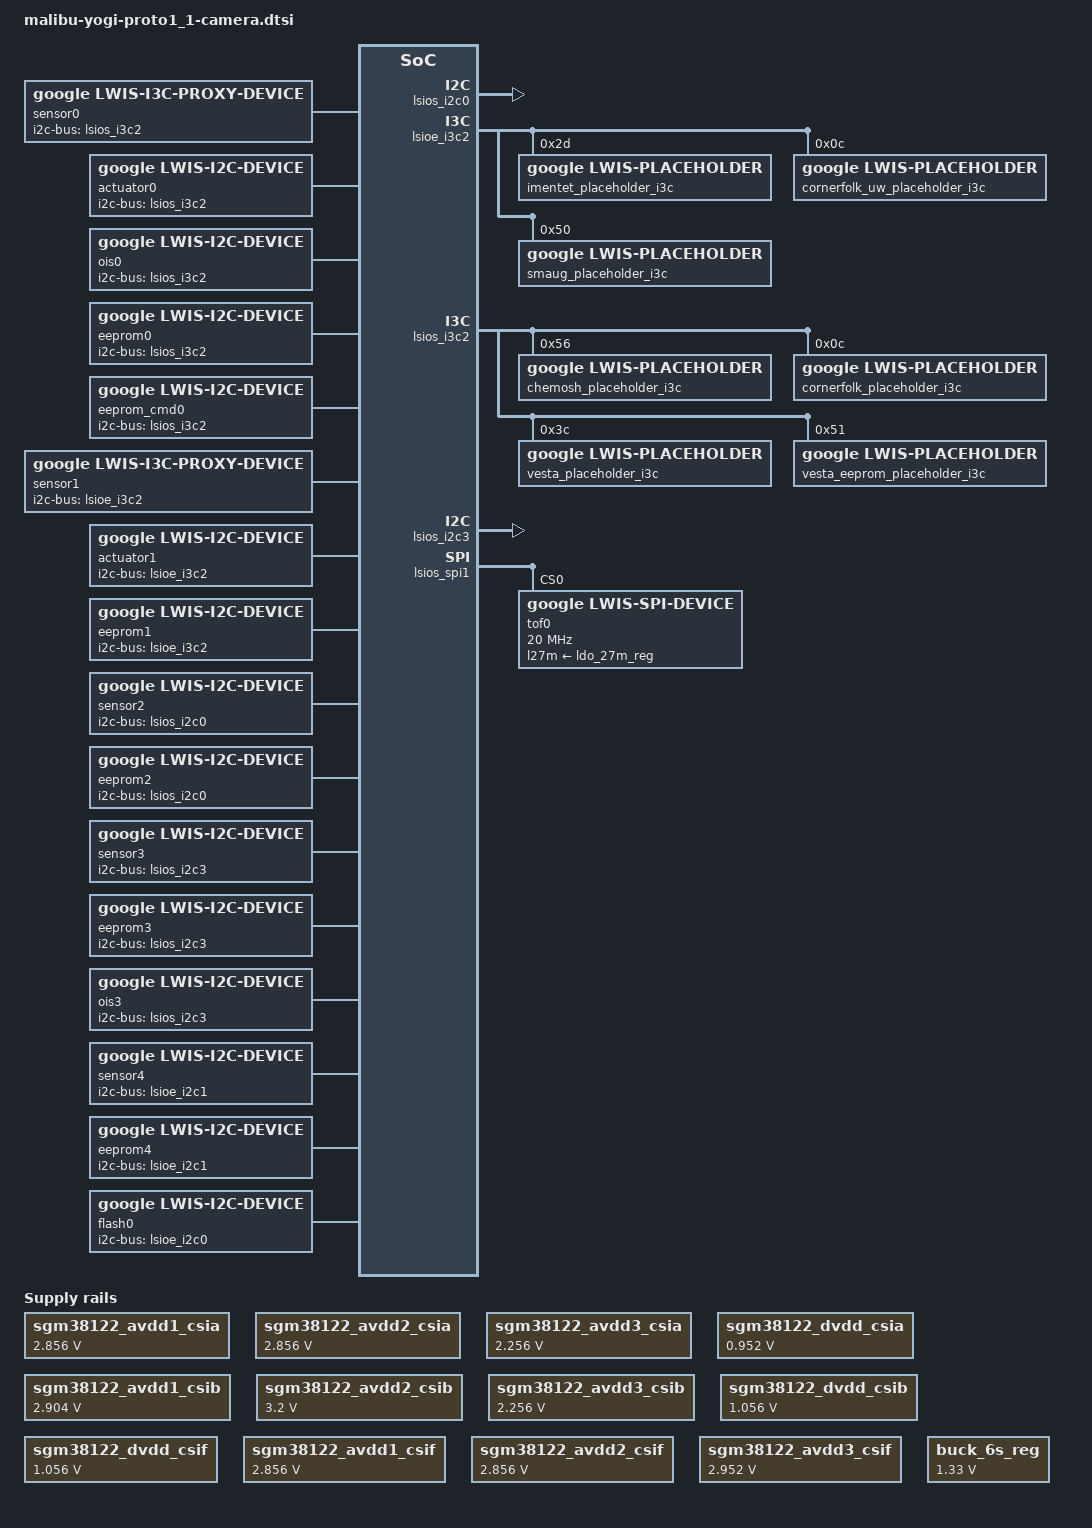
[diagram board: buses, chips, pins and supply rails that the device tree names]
// SPDX-License-Identifier: GPL-2.0-only
/*
 * camera lwis device tree for MBU device
 *
 * Copyright 2025 Google LLC.
 *
 */

#include <dt-bindings/gpio/gpio.h>
#include <dt-bindings/interrupt-controller/irq.h>
#include <dt-bindings/lwis/platform/malibu/tof.h>

// Enable inner front cam for I2C
&lsios_i2c0 {
	status = "okay";
};

/* RUWCAM: switch I2C/I3C explicitly */
&xlsioe_i23c7_scl {
	function = "lsioe_i3c";
};
&xlsioe_i23c7_sda {
	function = "lsioe_i3c";
};
&lsioe_i2c2 {
	status = "disabled";
};
&lsioe_i3c2 {
	status = "okay";

	i3c-scl-hz = <12000000>;

	/* Lwis placeholder for RUWCAM */
	imentet_placeholder_i3c: imentet_placeholder_i3c@0 {
		compatible = "google,lwis-placeholder";
		/* I2C */
		reg = <0x2D 0x0 0x20>;
	};
	cornerfolk_uw_placeholder_i3c: cornerfolk_uw_placeholder_i3c@0 {
		compatible = "google,lwis-placeholder";
		/* I2C */
		reg = <0xC 0x0 0x20>;
	};
	smaug_placeholder_i3c: smaug_placeholder_i3c@0 {
		compatible = "google,lwis-placeholder";
		/* I2C */
		reg = <0x50 0x0 0x20>;
	};
};

/* RCAM: switch I2C/I3C explicitly */
&xlsios_i23c2_scl {
	function = "lsios_i3c2";
};
&xlsios_i23c2_sda {
	function = "lsios_i3c2";
};
&lsios_i2c2 {
	status = "disabled";
};
&lsios_i3c2 {
	status = "okay";

	i3c-scl-hz = <12000000>;

	/* Lwis placeholder for RCAM */
	chemosh_placeholder_i3c: chemosh_placeholder_i3c@0 {
		compatible = "google,lwis-placeholder";
		/* I2C */
		reg = <0x56 0x0 0x20>;
	};
	cornerfolk_placeholder_i3c: cornerfolk_placeholder_i3c@0 {
		compatible = "google,lwis-placeholder";
		/* I2C */
		reg = <0xC 0x0 0x20>;
	};
	vesta_placeholder_i3c: vesta_placeholder_i3c@0 {
		compatible = "google,lwis-placeholder";
		/* I2C */
		reg = <0x3C 0x0 0x20>;
	};
	vesta_eeprom_placeholder_i3c: vesta_eeprom_placeholder_i3c@0 {
		compatible = "google,lwis-placeholder";
		/* I2C */
		reg = <0x51 0x0 0x20>;
	};
};

/* RTCAM: switch I2C/I3C explicitly */
&xlsios_i23c3_scl {
	function = "lsios_i2c3";
};

&xlsios_i23c3_sda {
	function = "lsios_i2c3";
};

&lsios_i2c3 {
	status = "okay";
};

&lsios_i3c3 {
	status = "disabled";
};

&sgm38122_avdd1_csia {
	regulator-min-microvolt = <2856000>;
	regulator-max-microvolt = <2856000>;
};
&sgm38122_avdd2_csia {
	regulator-min-microvolt = <2856000>;
	regulator-max-microvolt = <2856000>;
};
&sgm38122_avdd3_csia {
	regulator-min-microvolt = <2256000>;
	regulator-max-microvolt = <2256000>;
};
&sgm38122_dvdd_csia {
	regulator-min-microvolt = <952000>;
	regulator-max-microvolt = <952000>;
};

&sgm38122_avdd1_csib {
	regulator-min-microvolt = <2904000>;
	regulator-max-microvolt = <2904000>;
};
&sgm38122_avdd2_csib {
	regulator-min-microvolt = <3200000>;
	regulator-max-microvolt = <3200000>;
};
&sgm38122_avdd3_csib {
	regulator-min-microvolt = <2256000>;
	regulator-max-microvolt = <2256000>;
};
&sgm38122_dvdd_csib {
	regulator-min-microvolt = <1056000>;
	regulator-max-microvolt = <1056000>;
};

&sgm38122_dvdd_csif {
	regulator-min-microvolt = <1056000>;
	regulator-max-microvolt = <1056000>;
};
&sgm38122_avdd1_csif {
	regulator-min-microvolt = <2856000>;
	regulator-max-microvolt = <2856000>;
};
&sgm38122_avdd2_csif {
	regulator-min-microvolt = <2856000>;
	regulator-max-microvolt = <2856000>;
};
&sgm38122_avdd3_csif {
	regulator-min-microvolt = <2952000>;
	regulator-max-microvolt = <2952000>;
};

&buck_6s_reg {
	regulator-min-microvolt = <1330000>;
	regulator-max-microvolt = <1330000>;
};

&lsios_spi1 {
	google,spi-gpio-cs-with-cpol-high;
	tof0: tof@0 {
		compatible = "google,lwis-spi-device";

		/* SPI_CONFIG */
		reg = <0>;
		spi-max-frequency = <20000000>;
		spi-cpol;
		spi-cpha;

		/* Device node name */
		node-name = "tof-tarasque";

		/* Registers */
		reg-addr-bitwidth = <16>;
		reg-value-bitwidth = <8>;

		/* MCLK Control */
		/* LWIS DT parser explicitly requires mclk_on pinctrl */
		pinctrl-names = "default", "mclk_on", "mclk_off";
		pinctrl-0 = <&ldaf2aoss_irq_od_l_1v2>;
		pinctrl-1 = <&ldaf2aoss_irq_od_l_1v2>;
		pinctrl-2 = <>;

		irq-gpios = <LDAF2AOSS_IRQ_OD_L_1V2(GPIO_ACTIVE_LOW)>;
		irq-gpios-names = "tof-irq";
		irq-gpios-events = <LWIS_PLATFORM_EVENT_ID_TOF_DATA_POLLING>;
		irq-gpios-types = <IRQ_TYPE_EDGE_FALLING>;

		/* Power supplies */
		/* VADD 3.3V */
		l27m-supply = <&ldo_27m_reg>;

		/* Power up sequence */
		power-up-seqs =
			"l27m",
			"mclk_on";
		power-up-seq-types =
			"regulator",
			"pinctrl";
		power-up-seq-delays-us =
			<0
			 0>;

		/* Power down sequence */
		power-down-seqs =
			"mclk_off",
			"l27m";
		power-down-seq-types =
			"pinctrl",
			"regulator";
		power-down-seq-delays-us =
			<0
			 0>;

		/* Thread priority */
		/* This is made to be lower than image sensor's thread */
		/* thread priority to allow uninterrupted image sensor */
		/* operation during periods of high CPU contention. */
		transaction-thread-priority = <100>;
	};
};

/ {
	fragment@lwiscamera {
		target-path = "/";
		__overlay__ {
			camera_base_pwrseq: camera_base_pwrseq@0 {
				compatible = "google,lwis-pwrseq-device";

				/* Device node name */
				node-name = "pwrseq-base";
				/* Power sequence target name */
				target-name = "camera_base";

				/* Power supplies */
				bb_cam-supply = <&camera_buck_boost>;

				/* power up sequence */
				power-up-seqs =
					"bb_cam",
					"fast-bb_cam";
				power-up-seq-types =
					"regulator",
					"regulator_mode";
				power-up-seq-delays-us =
					<0
					 200>;

				/* power down sequence */
				power-down-seqs =
					"normal-bb_cam",
					"bb_cam";
				power-down-seq-types =
					"regulator_mode",
					"regulator";
				power-down-seq-delays-us =
					<0
					 0>;
			};

			rear_main_camera_pwrseq: rear_main_camera_pwrseq@0 {
				compatible = "google,lwis-pwrseq-device";

				/* Device node name */
				node-name = "pwrseq-rmain";
				/* Power sequence target name */
				target-name = "rear_main_camera";

				/* Sequencer sources */
				sequencer-sources = <&camera_base_pwrseq>;

				/* Power supplies */
				lvbuck-supply = <&cam_pp1150_lvbuck>;
				mvbuck-supply = <&cam_pp2450_mvbuck>;
				vio-supply = <&ldo_22s_reg>;
				vdig-supply = <&sgm38122_dvdd_csib>;
				af_vm-supply = <&sgm38122_avdd2_csib>;
				vm_vana-supply = <&sgm38122_avdd1_csib>;
				vana-supply = <&sgm38122_avdd3_csib>;

				/* MCLK Control */
				pinctrl-names = "mclk_on", "mclk_off";
				pinctrl-0 = <&ap2rcam_mclk_24mhz>;
				pinctrl-1 = <&ap2rcam_mclk_24mhz_sleep>;

				/* Power up sequence */
				power-up-seqs =
					"camera_base",
					"mvbuck",
					"lvbuck",
					"vio",
					"vana",
					"vdig",
					"vm_vana",
					"af_vm",
					"mclk_on";
				power-up-seq-types =
					"pwrseq",
					"regulator",
					"regulator",
					"regulator",
					"regulator",
					"regulator",
					"regulator",
					"regulator",
					"pinctrl";
				power-up-seq-delays-us =
					<0
					 0
					 0
					 2500
					 0
					 1000
					 0
					 1000
					 /* AF need 7.1ms (rounded to 8ms) before I2C stable,
					    added the remaining here */
					 8000>;

				power-down-seqs =
					"mclk_off",
					"af_vm",
					"vm_vana",
					"vdig",
					"vana",
					"vio",
					"lvbuck",
					"mvbuck",
					"camera_base";
				power-down-seq-types =
					"pinctrl",
					"regulator",
					"regulator",
					"regulator",
					"regulator",
					"regulator",
					"regulator",
					"regulator",
					"pwrseq";
				power-down-seq-delays-us =
					<1000
					 0
					 1000
					 0
					 1000
					 0
					 0
					 200
					 0>;
			};

			/* REAR CAMERA CHEMOSH CSIB */
			sensor0: sensor@0 {
				compatible = "google,lwis-i3c-proxy-device";

				/* Device node name */
				node-name = "sensor-chemosh";

				/* I2C */
				i2c-bus = <&lsios_i3c2>;
				i2c-addr = <0x56>;

				/* Registers */
				reg-addr-bitwidth = <16>;
				reg-value-bitwidth = <16>;

				/* I3C */
				i3c-enabled;
				i3c-dcr = <130>;

				/* I2C OTP settings (reg, val) */
				lwis,i2c-otp;
				i2c-otp-settings =
					<0xFCFC 0x4000
					 0x0000 0x0052
					 0x0000 0x58E1
					 0x6018 0x0001
					 0xFFFF 1000

					 0x7002 0x0008
					 0x7004 0x1800
					 0x70B8 0x0CEB
					 0x6014 0x0001
					 0xFFFF 20000>;
				i2c-otp-settle-time = <0>;

				/* I3C OTP settings (reg, val) */
				i3c-otp-settings =
					<0xFCFC 0x4000
					 0x0000 0x0052
					 0x0000 0x58E1
					 0x6018 0x0001
					 0xFFFF 1000

					 0x7002 0x1008
					 0x7004 0x1800
					 0x70B8 0x0CEB
					 0x6014 0x0001
					 0xFFFF 20000>;
				i3c-otp-settle-time = <0>;

				/* I3C IBI */
				ibi-max-payload-len = <3>;
				ibi-num-slots = <8>;

				/* GPIOs */
				reset-gpios = <AP2RCAM_RST_L(GPIO_ACTIVE_HIGH)>;

				/* Power domains: cpm_clk */
				power-domains = <&sswrp_lsio_s_pd>;

				clocks = <&lsio_s_m4_clk>;
				clock-names = "MCLK4";
				clock-rates = <24576000>;

				/* Power sequence */
				power-sequencer = <&rear_main_camera_pwrseq>;

				power-up-seqs = "rear_main_camera", "resume";
				power-up-seq-types = "pwrseq", "controller";
				power-up-seq-delays-us = <0 0>;

				power-down-seqs = "suspend", "rear_main_camera";
				power-down-seq-types = "controller", "pwrseq";
				power-down-seq-delays-us = <0 0>;

				/* Power up mode */
				lwis,power-up-to-suspend;

				/* resume sequence */
				resume-seqs = "reset";
				resume-seq-types = "gpio";
				resume-seq-delays-us = <10000>;

				/* suspend sequence */
				suspend-seqs = "reset";
				suspend-seq-types = "gpio";
				suspend-seq-delays-us = <1000>;

				/* Thread priority */
				transaction-thread-priority = <99>;

				i2c-lock-group-id = <0>;
				transaction-process-limit = <20>;
			};

			/* Actuator CORNERFOLK for CHEMOSH */
			actuator0: actuator@0 {
				compatible = "google,lwis-i2c-device";

				/* Device node name */
				node-name = "act-cornerfolk";

				/* I2C */
				i2c-bus = <&lsios_i3c2>;
				i2c-addr = <0xC>;

				/* Registers */
				reg-addr-bitwidth = <8>;
				reg-value-bitwidth = <8>;

				/* Power sequence */
				power-sequencer = <&rear_main_camera_pwrseq>;

				power-up-seqs = "rear_main_camera", "resume";
				power-up-seq-types = "pwrseq", "controller";
				power-up-seq-delays-us = <0 0>;

				power-down-seqs = "suspend", "rear_main_camera";
				power-down-seq-types = "controller", "pwrseq";
				power-down-seq-delays-us = <0 0>;

				/* Thread priority */
				transaction-thread-priority = <99>;

				i2c-lock-group-id = <0>;
			};

			/* OIS VESTA for CHEMOSH */
			ois0: ois@0 {
				compatible = "google,lwis-i2c-device";

				/* Device node name */
				node-name = "ois-vesta";

				/* I2C */
				i2c-bus = <&lsios_i3c2>;
				i2c-addr = <0x3C>;

				/* Registers */
				reg-addr-bitwidth = <16>;
				reg-value-bitwidth = <8>;

				/* Power sequence */
				power-sequencer = <&rear_main_camera_pwrseq>;

				power-up-seqs = "rear_main_camera", "resume";
				power-up-seq-types = "pwrseq", "controller";
				power-up-seq-delays-us = <0 0>;

				power-down-seqs = "suspend", "rear_main_camera";
				power-down-seq-types = "controller", "pwrseq";
				power-down-seq-delays-us = <0 0>;

				/* Thread priority */
				transaction-thread-priority = <99>;

				i2c-lock-group-id = <0>;
			};

			/* EEPROM VESTA for CHEMOSH */
			eeprom0: eeprom@0 {
				compatible = "google,lwis-i2c-device";

				/* Device node name */
				node-name = "eeprom-vesta";

				/* I2C */
				i2c-bus = <&lsios_i3c2>;
				i2c-addr = <0x51>;

				/* Registers */
				reg-addr-bitwidth = <16>;
				reg-value-bitwidth = <32>;

				/* Power sequence */
				power-sequencer = <&rear_main_camera_pwrseq>;

				power-up-seqs = "rear_main_camera", "resume";
				power-up-seq-types = "pwrseq", "controller";
				power-up-seq-delays-us = <0 0>;

				power-down-seqs = "suspend", "rear_main_camera";
				power-down-seq-types = "controller", "pwrseq";
				power-down-seq-delays-us = <0 0>;

				/* Thread priority */
				transaction-thread-priority = <99>;

				i2c-lock-group-id = <0>;
			};

			eeprom_cmd0: eeprom_cmd@0 {
				compatible = "google,lwis-i2c-device";

				/* Device node name */
				node-name = "eeprom-cmd-vesta";

				/* I2C */
				i2c-bus = <&lsios_i3c2>;
				i2c-addr = <0x51>;

				/* Registers */
				reg-addr-bitwidth = <16>;
				reg-value-bitwidth = <8>;

				/* Power sequence */
				power-sequencer = <&rear_main_camera_pwrseq>;

				power-up-seqs = "rear_main_camera", "resume";
				power-up-seq-types = "pwrseq", "controller";
				power-up-seq-delays-us = <0 0>;

				power-down-seqs = "suspend", "rear_main_camera";
				power-down-seq-types = "controller", "pwrseq";
				power-down-seq-delays-us = <0 0>;

				/* Thread priority */
				transaction-thread-priority = <99>;

				i2c-lock-group-id = <0>;
			};

			rear_uw_camera_pwrseq: rear_uw_camera_pwrseq@0 {
				compatible = "google,lwis-pwrseq-device";

				/* Device node name */
				node-name = "pwrseq-ruw";
				/* Power sequence target name */
				target-name = "rear_uw_camera";

				/* Sequencer sources */
				sequencer-sources = <&camera_base_pwrseq>;

				/* Power supplies */
				lvbuck-supply = <&cam_pp1150_lvbuck>;
				mvbuck-supply = <&cam_pp2450_mvbuck>;
				vio-supply = <&ldo_22s_reg>;
				vana-supply = <&sgm38122_avdd3_csia>;
				vdig-supply = <&sgm38122_dvdd_csia>;
				af_vm-supply = <&sgm38122_avdd2_csia>;

				/* MCLK Control */
				pinctrl-names = "mclk_on", "mclk_off";
				pinctrl-0 = <&ap2ruwcam_mclk_24mhz>;
				pinctrl-1 = <&ap2ruwcam_mclk_24mhz_sleep>;

				power-up-seqs =
					"camera_base",
					"mvbuck",
					"lvbuck",
					"vio",
					"vana",
					"vdig",
					"af_vm",
					"mclk_on";
				power-up-seq-types =
					"pwrseq",
					"regulator",
					"regulator",
					"regulator",
					"regulator",
					"regulator",
					"regulator",
					"pinctrl";
				power-up-seq-delays-us =
					<0
					 0
					 0
					 2500
					 0
					 1000
					 1000
					 /* AF need 7.1ms (rounded to 8ms) before I2C stable,
					    added the remaining here */
					 7000>;

				power-down-seqs =
					"mclk_off",
					"af_vm",
					"vdig",
					"vana",
					"vio",
					"lvbuck",
					"mvbuck",
					"camera_base";
				power-down-seq-types =
					"pinctrl",
					"regulator",
					"regulator",
					"regulator",
					"regulator",
					"regulator",
					"regulator",
					"pwrseq";
				power-down-seq-delays-us =
					<1000
					 1000
					 0
					 1000
					 0
					 0
					 200
					 0>;
			};

			/* REAR ULTRA WIDE IMENTET CSIA */
			sensor1: sensor@1 {
				compatible = "google,lwis-i3c-proxy-device";

				/* Device node name */
				node-name = "sensor-imentet";

				/* I2C */
				i2c-bus = <&lsioe_i3c2>;
				i2c-addr = <0x2D>;

				/* Registers */
				reg-addr-bitwidth = <16>;
				reg-value-bitwidth = <16>;

				/* I3C */
				i3c-enabled;
				i3c-dcr = <130>;

				/* I2C OTP settings (reg, val) */
				lwis,i2c-otp;
				i2c-otp-settings =
					<0xFCFC	0x4000
					 0x6000	0x0005
					 0x6226	0x0001
					 0x6018	0x0001
					 0xFFFF 1000

					 0xFCFC	0x4000
					 0x6000	0x0005
					 0xFCFC	0x2002
					 0x77F0	0x0000
					 0xFCFC	0x4000
					 0x7002	0x0008
					 0x7004	0x1800
					 0x70B8	0x5112
					 0x6014	0x0001
					 0xFFFF 5000>;
				i2c-otp-settle-time = <0>;

				/* I3C OTP settings (reg, val) */
				i3c-otp-settings =
					<0xFCFC	0x4000
					 0x6000	0x0005
					 0x6226	0x0001
					 0x6018	0x0001
					 0xFFFF 1000

					 0xFCFC	0x4000
					 0x6000	0x0005
					 0xFCFC	0x2002
					 0x77F0	0x0000
					 0xFCFC	0x4000
					 0x7002	0x1008
					 0x6066	0x0216
					 0x6068	0x343B
					 0x7004	0x1800
					 0x70B8	0x5112
					 0x6014	0x0001
					 0xFFFF 20000>;
				i3c-otp-settle-time = <0>;

				/* I3C IBI */
				ibi-max-payload-len = <3>;
				ibi-num-slots = <8>;

				/* GPIOs */
				reset-gpios = <AP2RUWCAM_RST_L(GPIO_ACTIVE_HIGH)>;

				/* Power domains: cpm_clk */
				power-domains = <&sswrp_lsio_s_pd>;

				clocks = <&lsio_s_m2_clk>;
				clock-names = "MCLK2";
				clock-rates = <24576000>;

				/* Power sequence */
				power-sequencer = <&rear_uw_camera_pwrseq>;

				power-up-seqs = "rear_uw_camera", "resume";
				power-up-seq-types = "pwrseq", "controller";
				power-up-seq-delays-us = <0 0>;

				power-down-seqs = "suspend", "rear_uw_camera";
				power-down-seq-types = "controller", "pwrseq";
				power-down-seq-delays-us = <0 0>;

				/* Power up mode */
				lwis,power-up-to-suspend;

				/* resume sequence */
				resume-seqs = "reset";
				resume-seq-types = "gpio";
				resume-seq-delays-us = <10000>;

				/* suspend sequence */
				suspend-seqs = "reset";
				suspend-seq-types = "gpio";
				suspend-seq-delays-us = <1000>;

				/* Thread priority */
				transaction-thread-priority = <99>;

				i2c-lock-group-id = <1>;
			};

			/* Actuator CORNERFOLK for IMENTET */
			actuator1: actuator@1 {
				compatible = "google,lwis-i2c-device";

				/* Device node name */
				node-name = "act-cornerfolk-uw";

				/* I2C */
				i2c-bus = <&lsioe_i3c2>;
				i2c-addr = <0xC>;

				/* Registers */
				reg-addr-bitwidth = <8>;
				reg-value-bitwidth = <8>;

				/* Power sequence */
				power-sequencer = <&rear_uw_camera_pwrseq>;

				power-up-seqs = "rear_uw_camera", "resume";
				power-up-seq-types = "pwrseq", "controller";
				power-up-seq-delays-us = <0 0>;

				power-down-seqs = "suspend", "rear_uw_camera";
				power-down-seq-types = "controller", "pwrseq";
				power-down-seq-delays-us = <0 0>;

				/* Thread priority */
				transaction-thread-priority = <99>;

				i2c-lock-group-id = <1>;
			};

			/* EEPROM SMAUG for IMENTET */
			eeprom1: eeprom@1 {
				compatible = "google,lwis-i2c-device";

				/* Device node name */
				node-name = "eeprom-smaug-uw";
				/* I2C */
				i2c-bus = <&lsioe_i3c2>;
				i2c-addr = <0x50>;

				/* Registers */
				reg-addr-bitwidth = <16>;
				reg-value-bitwidth = <8>;

				/* Power sequence */
				power-sequencer = <&rear_uw_camera_pwrseq>;

				power-up-seqs = "rear_uw_camera", "resume";
				power-up-seq-types = "pwrseq", "controller";
				power-up-seq-delays-us = <0 0>;

				power-down-seqs = "suspend", "rear_uw_camera";
				power-down-seq-types = "controller", "pwrseq";
				power-down-seq-delays-us = <0 0>;

				/* Thread priority */
				/* Match with other bus devices */
				transaction-thread-priority = <99>;

				i2c-lock-group-id = <1>;
			};

			inner_front_camera_pwrseq: inner_front_camera_pwrseq@0 {
				compatible = "google,lwis-pwrseq-device";

				/* Device node name */
				node-name = "pwrseq-inner-fmain";
				/* Power sequence target name */
				target-name = "inner_front_camera";

				/* Sequencer sources */
				sequencer-sources = <&camera_base_pwrseq>;

				/* Power supplies */
				lvbuck-supply = <&cam_pp1150_lvbuck>;
				mvbuck-supply = <&cam_pp2450_mvbuck>;
				vio-supply = <&ldo_22s_reg>;
				vdda-supply = <&sgm38122_avdd1_csia>;
				vdig-supply = <&ldo_11s_reg>;

				/* MCLK Control */
				pinctrl-names = "mclk_on", "mclk_off";
				pinctrl-0 = <&ap2fcam1_mclk_24mhz>;
				pinctrl-1 = <&ap2fcam1_mclk_24mhz_sleep>;

				power-up-seqs =
					"camera_base",
					"mvbuck",
					"lvbuck",
					"vio",
					"vdda",
					"vdig",
					"mclk_on";
				power-up-seq-types =
					"pwrseq",
					"regulator",
					"regulator",
					"regulator",
					"regulator",
					"regulator",
					"pinctrl";
				power-up-seq-delays-us =
					<0
					 0
					 0
					 2500
					 0
					 1000
					 1000>;

				power-down-seqs =
					"mclk_off",
					"vdig",
					"vdda",
					"vio",
					"lvbuck",
					"mvbuck",
					"camera_base";
				power-down-seq-types =
					"pinctrl",
					"regulator",
					"regulator",
					"regulator",
					"regulator",
					"regulator",
					"pwrseq";
				power-down-seq-delays-us =
					<1000
					 0
					 1000
					 200
					 0
					 200
					 0>;
			};

			/* INNER FRONT CAMERA SVAROG CSIC */
			sensor2: sensor@2 {
				compatible = "google,lwis-i2c-device";

				/* Device node name */
				node-name = "sensor-svarog";

				/* I2C */
				i2c-bus = <&lsios_i2c0>;
				i2c-addr = <0x10>;

				/* Registers */
				reg-addr-bitwidth = <16>;
				reg-value-bitwidth = <16>;

				/* I2C setting in kernel */
				lwis,i2c-otp;
				i2c-otp-settings =
					<0xFCFC 0x4000
					 0x6000 0x0005
					 0x6010 0x0001>;
				i2c-otp-settle-time = <5000>;

				/* GPIOs */
				reset-gpios = <AP2FCAM1_RST_L(GPIO_ACTIVE_HIGH)>;

				/* Power domains: cpm_clk */
				power-domains = <&sswrp_lsio_s_pd>;

				clocks = <&lsio_s_m3_clk>;
				clock-names = "MCLK3";
				clock-rates = <24576000>;

				/* Power sequence */
				power-sequencer = <&inner_front_camera_pwrseq>;

				power-up-seqs = "inner_front_camera", "resume";
				power-up-seq-types = "pwrseq", "controller";
				power-up-seq-delays-us = <0 0>;

				power-down-seqs = "suspend", "inner_front_camera";
				power-down-seq-types = "controller", "pwrseq";
				power-down-seq-delays-us = <0 0>;

				/* resume sequence */
				resume-seqs = "reset";
				resume-seq-types = "gpio";
				resume-seq-delays-us = <2000>;

				/* suspend sequence */
				suspend-seqs = "reset";
				suspend-seq-types = "gpio";
				suspend-seq-delays-us = <1000>;

				/* Power up mode */
				lwis,power-up-to-suspend;

				/* Thread priority */
				transaction-thread-priority = <99>;

				i2c-lock-group-id = <2>;
			};

			/* EEPROM SMAUG for INNER FRONT CAMERA */
			eeprom2: eeprom@2 {
				compatible = "google,lwis-i2c-device";

				/* Device node name */
				node-name = "eeprom-smaug-svarog";

				/* I2C */
				i2c-bus = <&lsios_i2c0>;
				i2c-addr = <0x50>;

				/* Registers */
				reg-addr-bitwidth = <16>;
				reg-value-bitwidth = <8>;

				/* Power sequence */
				power-sequencer = <&inner_front_camera_pwrseq>;

				power-up-seqs = "inner_front_camera", "resume";
				power-up-seq-types = "pwrseq", "controller";
				power-up-seq-delays-us = <0 0>;

				power-down-seqs = "suspend", "inner_front_camera";
				power-down-seq-types = "controller", "pwrseq";
				power-down-seq-delays-us = <0 0>;

				/* Thread priority */
				/* Match with other bus devices */
				transaction-thread-priority = <99>;

				i2c-lock-group-id = <2>;
			};

			rear_tele_camera_pwrseq: rear_tele_camera_pwrseq@0 {
				compatible = "google,lwis-pwrseq-device";

				/* Device node name */
				node-name = "pwrseq-rtele";
				/* Power sequence target name */
				target-name = "rear_tele_camera";

				/* Sequencer sources */
				sequencer-sources = <&camera_base_pwrseq>;

				/* GPIOs */
				afois-reset-gpios =
					<AP2RTCAM_AF_OIS_RST(GPIO_ACTIVE_HIGH)>;

				/* Power supplies */
				pp1330_cam-supply = <&buck_6s_reg>;
				pp1850_vio-supply = <&ldo_22s_reg>;
				pp2950_vana-supply = <&sgm38122_avdd3_csif>;
				pp1050_vdig-supply = <&sgm38122_dvdd_csif>;
				pp2850_afois_vana-supply =
					<&sgm38122_avdd1_csif>;
				pp2850_afois_vm-supply = <&sgm38122_avdd2_csif>;

				/* MCLK Control */
				pinctrl-names = "mclk_on", "mclk_off",
						"vsync_on", "vsync_off";
				pinctrl-0 = <&ap2rtcam_mclk_24mhz>;
				pinctrl-1 = <&ap2rtcam_mclk_24mhz_sleep>;
				pinctrl-2 = <&rtcam2ap_vsync>;
				pinctrl-3 = <&rtcam2ap_vsync_sleep>;

				power-up-seqs =
					"camera_base",
					"pp1330_cam",
					"pp1850_vio",
					"pp2950_vana",
					"pp1050_vdig",
					"pp2850_afois_vana",
					"pp2850_afois_vm",
					"afois-reset",
					"mclk_on",
					"vsync_on";
				power-up-seq-types =
					"pwrseq",
					"regulator",
					"regulator",
					"regulator",
					"regulator",
					"regulator",
					"regulator",
					"gpio",
					"pinctrl",
					"pinctrl";
				power-up-seq-delays-us =
					<0
					 2500
					 1000
					 0
					 1000
					 1000
					 1000
					 1000
					 0
					 1000>;

				power-down-seqs =
					"vsync_off",
					"mclk_off",
					"afois-reset",
					"pp2850_afois_vm",
					"pp2850_afois_vana",
					"pp1050_vdig",
					"pp2950_vana",
					"pp1850_vio",
					"pp1330_cam",
					"camera_base";
				power-down-seq-types =
					"pinctrl",
					"pinctrl",
					"gpio",
					"regulator",
					"regulator",
					"regulator",
					"regulator",
					"regulator",
					"regulator",
					"pwrseq";
				power-down-seq-delays-us =
					<0
					 1000
					 1000
					 1000
					 1000
					 0
					 1000
					 0
					 200
					 0>;
			};

			/* REAR TELE DOKKAEBI CSIF */
			sensor3: sensor@3 {
				compatible = "google,lwis-i2c-device";

				node-name = "sensor-dokkaebi-tele";

				i2c-bus = <&lsios_i2c3>;
				i2c-addr = <0x10>;

				/* Registers */
				reg-addr-bitwidth = <16>;
				reg-value-bitwidth = <16>;

				lwis,i2c-otp;
				i2c-otp-settings =
					<0xFCFC 0x4000
					 0x6010 0x0001>;
				i2c-otp-settle-time = <3000>;

				/* GPIOs */
				reset-gpios =
					<AP2RTCAM_RST_L(GPIO_ACTIVE_HIGH)>;

				/* Power domains: cpm_clk */
				power-domains = <&sswrp_lsio_s_pd>;

				clocks = <&lsio_s_m5_clk>;
				clock-names = "MCLK5";
				clock-rates = <24576000>;

				/* Power sequence */
				power-sequencer = <&rear_tele_camera_pwrseq>;

				power-up-seqs = "rear_tele_camera", "resume";
				power-up-seq-types = "pwrseq", "controller";
				power-up-seq-delays-us = <0 0>;

				power-down-seqs = "suspend", "rear_tele_camera";
				power-down-seq-types = "controller", "pwrseq";
				power-down-seq-delays-us = <0 0>;

				lwis,power-up-to-suspend;

				resume-seqs = "reset";
				resume-seq-types = "gpio";
				resume-seq-delays-us = <2000>;

				suspend-seqs = "reset";
				suspend-seq-types = "gpio";
				suspend-seq-delays-us = <1000>;

				/* Thread priority */
				transaction-thread-priority = <99>;

				i2c-lock-group-id = <3>;
			};

			/* EEPROM HUMBABA for DOKKAEBI TELE */
			eeprom3: eeprom@3 {
				compatible = "google,lwis-i2c-device";

				node-name = "eeprom-humbaba";

				i2c-bus = <&lsios_i2c3>;
				i2c-addr = <0x61>;

				/* Registers */
				reg-addr-bitwidth = <16>;
				reg-value-bitwidth = <8>;

				/* Power sequence */
				power-sequencer = <&rear_tele_camera_pwrseq>;

				power-up-seqs = "rear_tele_camera", "resume";
				power-up-seq-types = "pwrseq", "controller";
				power-up-seq-delays-us = <0 0>;

				power-down-seqs = "suspend", "rear_tele_camera";
				power-down-seq-types = "controller", "pwrseq";
				power-down-seq-delays-us = <0 0>;

				/* Thread priority */
				/* Match with other bus devices */
				transaction-thread-priority = <99>;

				i2c-lock-group-id = <3>;
				lwis,disable-group-transfer;
			};

			/* OIS HUMBABA for DOKKAEBI TELE */
			ois3: ois@3  {
				compatible = "google,lwis-i2c-device";

				node-name = "ois-humbaba";

				i2c-bus = <&lsios_i2c3>;
				i2c-addr = <0x61>;

				/* Registers */
				reg-addr-bitwidth = <16>;
				reg-value-bitwidth = <8>;

				/* Power sequence */
				power-sequencer = <&rear_tele_camera_pwrseq>;

				power-up-seqs = "rear_tele_camera", "resume";
				power-up-seq-types = "pwrseq", "controller";
				power-up-seq-delays-us = <0 0>;

				power-down-seqs = "suspend", "rear_tele_camera";
				power-down-seq-types = "controller", "pwrseq";
				power-down-seq-delays-us = <0 0>;

				/* Thread priority */
				transaction-thread-priority = <99>;

				i2c-lock-group-id = <3>;
				lwis,disable-group-transfer;
			};

			outer_front_camera_pwrseq: outer_front_camera_pwrseq@0 {
				compatible = "google,lwis-pwrseq-device";

				/* Device node name */
				node-name = "pwrseq-outer-fmain";
				/* Power sequence target name */
				target-name = "outer_front_camera";

				/* Sequencer sources */
				sequencer-sources = <&camera_base_pwrseq>;

				/* Power supplies */
				pp1330_cam-supply = <&buck_6s_reg>;
				vio-supply = <&ldo_22s_reg>;
				vana_vdig_en-supply = <&fcam0_vana_vdig_en>;

				/* MCLK Control */
				pinctrl-names = "mclk_on", "mclk_off";
				pinctrl-0 = <&ap2fcam0_mclk_24mhz>;
				pinctrl-1 = <&ap2fcam0_mclk_24mhz_sleep>;

				power-up-seqs =
					"camera_base",
					"pp1330_cam",
					"vio",
					"vana_vdig_en",
					"mclk_on";
				power-up-seq-types =
					"pwrseq",
					"regulator",
					"regulator",
					"regulator",
					"pinctrl";
				power-up-seq-delays-us =
					<0
					 0
					 2500
					 1000
					 1000>;

				power-down-seqs =
					"mclk_off",
					"vana_vdig_en",
					"vio",
					"pp1330_cam",
					"camera_base";
				power-down-seq-types =
					"pinctrl",
					"regulator",
					"regulator",
					"regulator",
					"pwrseq";
				power-down-seq-delays-us =
					<1000
					 1000
					 0
					 200
					 0>;
			};

			/* OUTER FRONT CAMERA SVAROG CSIE */
			sensor4: sensor@4 {
				compatible = "google,lwis-i2c-device";

				/* Device node name */
				node-name = "sensor-svarog-outer";

				/* I2C */
				i2c-bus = <&lsioe_i2c1>;
				i2c-addr = <0x10>;

				/* Registers */
				reg-addr-bitwidth = <16>;
				reg-value-bitwidth = <16>;

				/* I2C setting in kernel */
				lwis,i2c-otp;
				i2c-otp-settings =
					<0xFCFC 0x4000
					 0x6000 0x0005
					 0x6010 0x0001>;
				i2c-otp-settle-time = <5000>;

				/* GPIOs */
				reset-gpios = <AP2FCAM0_RST_L(GPIO_ACTIVE_HIGH)>;

				/* Power domains: cpm_clk */
				power-domains = <&sswrp_lsio_s_pd>;

				clocks = <&lsio_s_m6_clk>;
				clock-names = "MCLK6";
				clock-rates = <24576000>;

				/* Power sequence */
				power-sequencer = <&outer_front_camera_pwrseq>;

				power-up-seqs = "outer_front_camera", "resume";
				power-up-seq-types = "pwrseq", "controller";
				power-up-seq-delays-us = <0 0>;

				power-down-seqs = "suspend", "outer_front_camera";
				power-down-seq-types = "controller", "pwrseq";
				power-down-seq-delays-us = <0 0>;

				/* resume sequence */
				resume-seqs = "reset";
				resume-seq-types = "gpio";
				resume-seq-delays-us = <2000>;

				/* suspend sequence */
				suspend-seqs = "reset";
				suspend-seq-types = "gpio";
				suspend-seq-delays-us = <1000>;

				/* Power up mode */
				lwis,power-up-to-suspend;

				/* Thread priority */
				transaction-thread-priority = <99>;

				i2c-lock-group-id = <4>;
			};

			/* EEPROM SMAUG for OUTER FRONT CAMERA */
			eeprom4: eeprom@4 {
				compatible = "google,lwis-i2c-device";

				/* Device node name */
				node-name = "eeprom-smaug-svarog-outer";

				/* I2C */
				i2c-bus = <&lsioe_i2c1>;
				i2c-addr = <0x50>;

				/* Registers */
				reg-addr-bitwidth = <16>;
				reg-value-bitwidth = <8>;

				/* Power sequence */
				power-sequencer = <&outer_front_camera_pwrseq>;

				power-up-seqs = "outer_front_camera", "resume";
				power-up-seq-types = "pwrseq", "controller";
				power-up-seq-delays-us = <0 0>;

				power-down-seqs = "suspend", "outer_front_camera";
				power-down-seq-types = "controller", "pwrseq";
				power-down-seq-delays-us = <0 0>;

				/* Thread priority */
				/* Match with other bus devices */
				transaction-thread-priority = <99>;

				i2c-lock-group-id = <4>;
			};

			flash0: flash@0 {
				compatible = "google,lwis-i2c-device";

				/* Device node name */
				node-name = "flash-sy70206";

				/* I2C */
				i2c-bus = <&lsioe_i2c0>;
				i2c-addr = <0x63>;

				/* Registers */
				reg-addr-bitwidth = <8>;
				reg-value-bitwidth = <8>;

				/* Sequencer sources */
				sequencer-sources = <&camera_base_pwrseq>;

				power-up-seqs =
					"camera_base";
				power-up-seq-types =
					"pwrseq";
				power-up-seq-delays-us =
					<0>;

				power-down-seqs =
					"camera_base";
				power-down-seq-types =
					"pwrseq";
				power-down-seq-delays-us =
					<0>;
			};
		};
	};
};
